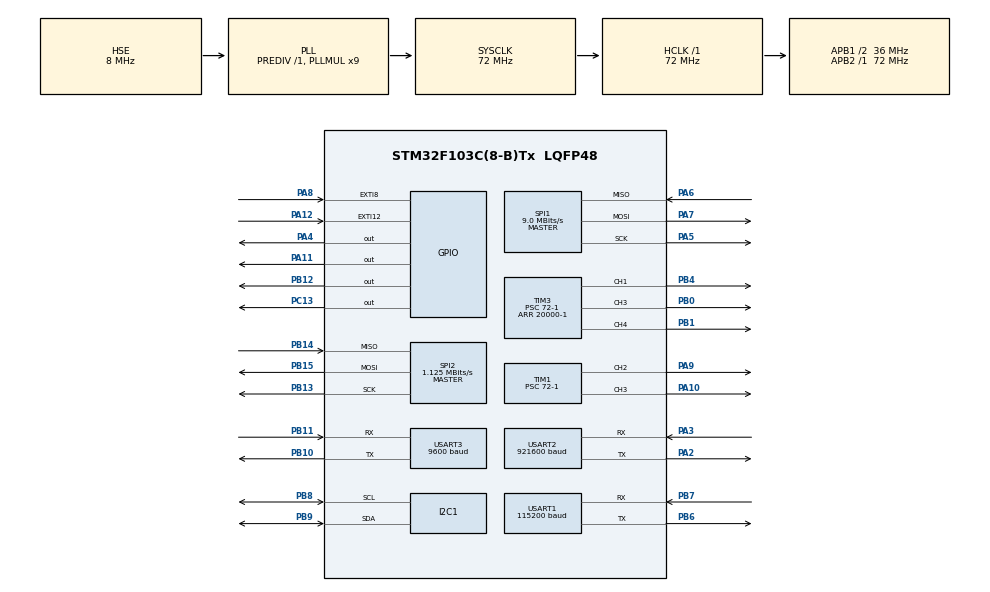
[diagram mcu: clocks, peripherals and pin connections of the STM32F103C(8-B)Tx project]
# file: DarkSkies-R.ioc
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Dma.Request0=USART3_RX
Dma.USART3_RX.0.Direction=DMA_PERIPH_TO_MEMORY
Dma.USART3_RX.0.Instance=DMA1_Channel3
Dma.USART3_RX.0.MemDataAlignment=DMA_MDATAALIGN_BYTE
Dma.USART3_RX.0.MemInc=DMA_MINC_ENABLE
Dma.USART3_RX.0.Mode=DMA_CIRCULAR
Dma.USART3_RX.0.PeriphDataAlignment=DMA_PDATAALIGN_BYTE
Dma.USART3_RX.0.PeriphInc=DMA_PINC_DISABLE
Dma.USART3_RX.0.Priority=DMA_PRIORITY_HIGH
I2C1.I2C_Mode=I2C_Fast
IWDG.Prescaler=IWDG_PRESCALER_32
IWDG.Reload=1100
Mcu.Family=STM32F1
Mcu.Name=STM32F103C(8-B)Tx
Mcu.Package=LQFP48
NVIC.DMA1_Channel3_IRQn=true\:0\:0\:false\:true\:true\:8\:false
NVIC.EXTI15_10_IRQn=true\:0\:0\:false\:true\:true\:2\:true
NVIC.EXTI9_5_IRQn=true\:0\:0\:false\:true\:true\:4\:true
NVIC.I2C1_ER_IRQn=true\:0\:0\:false\:true\:true\:6\:true
NVIC.I2C1_EV_IRQn=true\:0\:0\:false\:true\:true\:5\:true
NVIC.PriorityGroup=NVIC_PRIORITYGROUP_4
NVIC.SPI2_IRQn=true\:0\:0\:false\:true\:true\:3\:true
NVIC.TIM4_IRQn=true\:0\:0\:false\:true\:true\:1\:true
NVIC.USART1_IRQn=true\:0\:0\:false\:true\:true\:10\:true
NVIC.USART2_IRQn=true\:0\:0\:false\:true\:true\:9\:true
PA10.GPIO_ModeDefaultPP=GPIO_MODE_AF_PP
PA10.GPIO_Speed=GPIO_SPEED_FREQ_LOW
PA10.Signal=S_TIM1_CH3
PA11.Signal=GPIO_Output
PA12.GPIO_ModeDefaultEXTI=GPIO_MODE_IT_FALLING
PA12.GPIO_PuPd=GPIO_PULLUP
PA12.Signal=GPXTI12
PA13.Mode=Serial_Wire
PA13.Signal=SYS_JTMS-SWDIO
PA14.Mode=Serial_Wire
PA14.Signal=SYS_JTCK-SWCLK
PA2.Mode=Asynchronous
PA2.Signal=USART2_TX
PA3.Mode=Asynchronous
PA3.Signal=USART2_RX
PA4.Signal=GPIO_Output
PA5.Mode=Full_Duplex_Master
PA5.Signal=SPI1_SCK
PA6.Mode=Full_Duplex_Master
PA6.Signal=SPI1_MISO
PA7.Mode=Full_Duplex_Master
PA7.Signal=SPI1_MOSI
PA8.Signal=GPXTI8
PA9.Signal=S_TIM1_CH2
PB0.GPIO_ModeDefaultPP=GPIO_MODE_AF_PP
PB0.GPIO_Speed=GPIO_SPEED_FREQ_LOW
PB0.Signal=S_TIM3_CH3
PB1.GPIO_ModeDefaultPP=GPIO_MODE_AF_PP
PB1.GPIO_Speed=GPIO_SPEED_FREQ_LOW
PB1.Signal=S_TIM3_CH4
PB10.Mode=Asynchronous
PB10.Signal=USART3_TX
PB11.Mode=Asynchronous
PB11.Signal=USART3_RX
PB12.Signal=GPIO_Output
PB13.Mode=Full_Duplex_Master
PB13.Signal=SPI2_SCK
PB14.Mode=Full_Duplex_Master
PB14.Signal=SPI2_MISO
PB15.Mode=Full_Duplex_Master
PB15.Signal=SPI2_MOSI
PB4.Signal=S_TIM3_CH1
PB6.Mode=Asynchronous
PB6.Signal=USART1_TX
PB7.Mode=Asynchronous
PB7.Signal=USART1_RX
PB8.GPIO_Mode=GPIO_MODE_AF_OD
PB8.GPIO_Speed=GPIO_SPEED_FREQ_HIGH
PB8.Mode=I2C
PB8.Signal=I2C1_SCL
PB9.GPIO_Mode=GPIO_MODE_AF_OD
PB9.GPIO_Speed=GPIO_SPEED_FREQ_HIGH
PB9.Mode=I2C
PB9.Signal=I2C1_SDA
PC13-TAMPER-RTC.Signal=GPIO_Output
PC14-OSC32_IN.Mode=LSE-External-Oscillator
PC14-OSC32_IN.Signal=RCC_OSC32_IN
PC15-OSC32_OUT.Mode=LSE-External-Oscillator
PC15-OSC32_OUT.Signal=RCC_OSC32_OUT
PD0-OSC_IN.Mode=HSE-External-Oscillator
PD0-OSC_IN.Signal=RCC_OSC_IN
PD1-OSC_OUT.Mode=HSE-External-Oscillator
PD1-OSC_OUT.Signal=RCC_OSC_OUT
ProjectManager.HeapSize=0x200
ProjectManager.StackSize=0x400
ProjectManager.TargetToolchain=SW4STM32
RCC.ADCPresc=RCC_ADCPCLK2_DIV6
RCC.AHBFreq_Value=72000000
RCC.APB1CLKDivider=RCC_HCLK_DIV2
RCC.APB1Freq_Value=36000000
RCC.APB1TimFreq_Value=72000000
RCC.APB2Freq_Value=72000000
RCC.APB2TimFreq_Value=72000000
RCC.HCLKFreq_Value=72000000
RCC.PLLMUL=RCC_PLL_MUL9
RCC.PLLSourceVirtual=RCC_PLLSOURCE_HSE
RCC.SYSCLKFreq_VALUE=72000000
RCC.SYSCLKSource=RCC_SYSCLKSOURCE_PLLCLK
RCC.USBFreq_Value=72000000
SH.S_TIM1_CH2.0=TIM1_CH2,PWM Generation2 CH2
SH.S_TIM1_CH3.0=TIM1_CH3,PWM Generation3 CH3
SH.S_TIM3_CH1.0=TIM3_CH1,PWM Generation1 CH1
SH.S_TIM3_CH3.0=TIM3_CH3,PWM Generation3 CH3
SH.S_TIM3_CH4.0=TIM3_CH4,PWM Generation4 CH4
SPI1.BaudRatePrescaler=SPI_BAUDRATEPRESCALER_8
SPI1.CalculateBaudRate=9.0 MBits/s
SPI1.Direction=SPI_DIRECTION_2LINES
SPI1.Mode=SPI_MODE_MASTER
SPI1.VirtualType=VM_MASTER
SPI2.BaudRatePrescaler=SPI_BAUDRATEPRESCALER_32
SPI2.CLKPhase=SPI_PHASE_2EDGE
SPI2.CLKPolarity=SPI_POLARITY_HIGH
SPI2.CalculateBaudRate=1.125 MBits/s
SPI2.Direction=SPI_DIRECTION_2LINES
SPI2.Mode=SPI_MODE_MASTER
SPI2.VirtualType=VM_MASTER
TIM1.Channel-PWM\ Generation2\ CH2=TIM_CHANNEL_2
TIM1.Channel-PWM\ Generation3\ CH3=TIM_CHANNEL_3
TIM1.ClockDivision=TIM_CLOCKDIVISION_DIV1
TIM1.OCIdleState_3=TIM_OCIDLESTATE_RESET
TIM1.Period=20000-1
TIM1.Prescaler=72-1
TIM1.Pulse-PWM\ Generation2\ CH2=1500
TIM1.Pulse-PWM\ Generation3\ CH3=1500
TIM3.Channel-PWM\ Generation1\ CH1=TIM_CHANNEL_1
TIM3.Channel-PWM\ Generation3\ CH3=TIM_CHANNEL_3
TIM3.Channel-PWM\ Generation4\ CH4=TIM_CHANNEL_4
TIM3.Period=20000-1
TIM3.Prescaler=72-1
TIM3.Pulse-PWM\ Generation1\ CH1=625
TIM3.Pulse-PWM\ Generation3\ CH3=1500
TIM3.Pulse-PWM\ Generation4\ CH4=1500
TIM4.Period=1000-1
TIM4.Prescaler=72-1
TIM4.TIM_MasterOutputTrigger=TIM_TRGO_OC1REF
TIM4.TIM_MasterSlaveMode=TIM_MASTERSLAVEMODE_ENABLE
USART1.BaudRate=115200
USART1.VirtualMode=VM_ASYNC
USART2.BaudRate=921600
USART2.VirtualMode=VM_ASYNC
USART3.BaudRate=9600
USART3.Mode=MODE_TX_RX
USART3.StopBits=STOPBITS_2
USART3.VirtualMode=VM_ASYNC
VP_CRC_VS_CRC.Mode=CRC_Activate
VP_IWDG_VS_IWDG.Mode=IWDG_Activate
VP_TIM1_VS_ClockSourceINT.Mode=Internal
VP_TIM3_VS_ClockSourceINT.Mode=Internal
VP_TIM4_VS_ClockSourceINT.Mode=Internal
board=custom

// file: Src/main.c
/**
  ******************************************************************************
  * @file           : main.c
  * @brief          : Main program body
  ******************************************************************************
  ** This notice applies to any and all portions of this file
  * that are not between comment pairs USER CODE BEGIN and
  * USER CODE END. Other portions of this file, whether
  * inserted by the user or by software development tools
  * are owned by their respective copyright owners.
  *
  * COPYRIGHT(c) 2018 STMicroelectronics
  *
  * Redistribution and use in source and binary forms, with or without modification,
  * are permitted provided that the following conditions are met:
  *   1. Redistributions of source code must retain the above copyright notice,
  *      this list of conditions and the following disclaimer.
  *   2. Redistributions in binary form must reproduce the above copyright notice,
  *      this list of conditions and the following disclaimer in the documentation
  *      and/or other materials provided with the distribution.
  *   3. Neither the name of STMicroelectronics nor the names of its contributors
  *      may be used to endorse or promote products derived from this software
  *      without specific prior written permission.
  *
  * THIS SOFTWARE IS PROVIDED BY THE COPYRIGHT HOLDERS AND CONTRIBUTORS "AS IS"
  * AND ANY EXPRESS OR IMPLIED WARRANTIES, INCLUDING, BUT NOT LIMITED TO, THE
  * IMPLIED WARRANTIES OF MERCHANTABILITY AND FITNESS FOR A PARTICULAR PURPOSE ARE
  * DISCLAIMED. IN NO EVENT SHALL THE COPYRIGHT HOLDER OR CONTRIBUTORS BE LIABLE
  * FOR ANY DIRECT, INDIRECT, INCIDENTAL, SPECIAL, EXEMPLARY, OR CONSEQUENTIAL
  * DAMAGES (INCLUDING, BUT NOT LIMITED TO, PROCUREMENT OF SUBSTITUTE GOODS OR
  * SERVICES; LOSS OF USE, DATA, OR PROFITS; OR BUSINESS INTERRUPTION) HOWEVER
  * CAUSED AND ON ANY THEORY OF LIABILITY, WHETHER IN CONTRACT, STRICT LIABILITY,
  * OR TORT (INCLUDING NEGLIGENCE OR OTHERWISE) ARISING IN ANY WAY OUT OF THE USE
  * OF THIS SOFTWARE, EVEN IF ADVISED OF THE POSSIBILITY OF SUCH DAMAGE.
  *
  ******************************************************************************
  */
#include "main.h"
#include "stm32f1xx_hal.h"
#include "crc.h"
#include "dma.h"
#include "i2c.h"
#include "iwdg.h"
#include "spi.h"
#include "tim.h"
#include "usart.h"
#include "gpio.h"

/* USER CODE BEGIN Includes */
#include <Control/control.h>
#include <Sensors/sensors.h>
#include <Radio/radio.h>
#include <OSD/osd.h>
/* USER CODE END Includes */

void SystemClock_Config(void);
static void MX_NVIC_Init(void);

/* USER CODE BEGIN PFP */
/* Private function prototypes -----------------------------------------------*/

/* USER CODE END PFP */

int main(void)
{

  /* MCU Configuration----------------------------------------------------------*/

  /* Reset of all peripherals, Initializes the Flash interface and the Systick. */
  HAL_Init();

  /* Configure the system clock */
  SystemClock_Config();

  /* Initialize all configured peripherals */
  MX_GPIO_Init();
  MX_DMA_Init();
  MX_I2C1_Init();
  MX_USART1_UART_Init();
  MX_TIM1_Init();
  MX_SPI2_Init();
  MX_USART2_UART_Init();
  MX_TIM3_Init();
  MX_USART3_UART_Init();
  MX_TIM4_Init();
  MX_CRC_Init();
  MX_SPI1_Init();
  MX_IWDG_Init();

  /* Initialize interrupts */
  MX_NVIC_Init();
  /* USER CODE BEGIN 2 */
  HAL_UART_Transmit(&huart1, (uint8_t *)"\r\nUART1 test OK!\r\n", 18, 0xFFFF);
  printf("Init started!\r\n");

  HAL_TIM_Base_Start_IT(&htim4); //Microtimer
  //__HAL_SPI_ENABLE(&hspi1);

  //HAL_TIM_OC_Start_IT(&htim4, TIM_CHANNEL_1);

  //HAL_TIM_Base_Start(&htim3); //Do i realy need this????

  //HAL_TIM_PWM_Start(&htim1,TIM_CHANNEL_3);
  //HAL_TIM_PWM_Start(&htim3,TIM_CHANNEL_1);
  //HAL_TIM_PWM_Start(&htim3,TIM_CHANNEL_2);
  //HAL_TIM_PWM_Start(&htim3,TIM_CHANNEL_3);
  //HAL_TIM_PWM_Start(&htim3,TIM_CHANNEL_4);

  OutControl_Init();
  Sensors_Init();
  Radio_Init();

  printf("Init ended!\r\n");
  /* USER CODE END 2 */

  /* Infinite loop */
  /* USER CODE BEGIN WHILE */
  while (1)
  {

	  /*HAL_GPIO_WritePin(GPIOC, GPIO_PIN_13, GPIO_PIN_SET);
	  HAL_Delay(100);
	  HAL_GPIO_WritePin(GPIOC, GPIO_PIN_13, GPIO_PIN_RESET);
	  HAL_Delay(100);*/

	  HAL_GPIO_WritePin(GPIOC, GPIO_PIN_13, GPIO_PIN_RESET);
	  Sensors_Read();
	  //Radio_Read(); //Don't use, working over interrupt now
	  OSD_Send();
	  HAL_GPIO_WritePin(GPIOC, GPIO_PIN_13, GPIO_PIN_SET);
	  HAL_Delay(5);

	  //LOG("p: %.2f, y: %.2f, r: %.2f, tick: %u\r\n", Angles.pitch, Angles.yaw, Angles.roll, HAL_GetTick());

	  //struct ADC_Data v = ADC_Get_Data();
	  //LOG("ADC: %.2fV %.2fV %.2fA %.2fC %.2fV tick: %u ms: %lu us: %lu\r\n", v.vbat, v.vbatm, v.ibat, v.temp, v.vref, HAL_GetTick(), getMillis(), getMicros());

	  #ifdef HAL_IWDG_MODULE_ENABLED
	  HAL_IWDG_Refresh(&hiwdg);
	  #endif
  /* USER CODE END WHILE */

  }

}

void SystemClock_Config(void)
{

  RCC_OscInitTypeDef RCC_OscInitStruct;
  RCC_ClkInitTypeDef RCC_ClkInitStruct;

    /**Initializes the CPU, AHB and APB busses clocks
    */
  RCC_OscInitStruct.OscillatorType = RCC_OSCILLATORTYPE_LSI|RCC_OSCILLATORTYPE_HSE;
  RCC_OscInitStruct.HSEState = RCC_HSE_ON;
  RCC_OscInitStruct.HSEPredivValue = RCC_HSE_PREDIV_DIV1;
  RCC_OscInitStruct.HSIState = RCC_HSI_ON;
  RCC_OscInitStruct.LSIState = RCC_LSI_ON;
  RCC_OscInitStruct.PLL.PLLState = RCC_PLL_ON;
  RCC_OscInitStruct.PLL.PLLSource = RCC_PLLSOURCE_HSE;
  RCC_OscInitStruct.PLL.PLLMUL = RCC_PLL_MUL9;
  if (HAL_RCC_OscConfig(&RCC_OscInitStruct) != HAL_OK)
  {
    _Error_Handler(__FILE__, __LINE__);
  }

    /**Initializes the CPU, AHB and APB busses clocks
    */
  RCC_ClkInitStruct.ClockType = RCC_CLOCKTYPE_HCLK|RCC_CLOCKTYPE_SYSCLK
                              |RCC_CLOCKTYPE_PCLK1|RCC_CLOCKTYPE_PCLK2;
  RCC_ClkInitStruct.SYSCLKSource = RCC_SYSCLKSOURCE_PLLCLK;
  RCC_ClkInitStruct.AHBCLKDivider = RCC_SYSCLK_DIV1;
  RCC_ClkInitStruct.APB1CLKDivider = RCC_HCLK_DIV2;
  RCC_ClkInitStruct.APB2CLKDivider = RCC_HCLK_DIV1;

  if (HAL_RCC_ClockConfig(&RCC_ClkInitStruct, FLASH_LATENCY_2) != HAL_OK)
  {
    _Error_Handler(__FILE__, __LINE__);
  }

    /**Configure the Systick interrupt time
    */
  HAL_SYSTICK_Config(HAL_RCC_GetHCLKFreq()/1000);

    /**Configure the Systick
    */
  HAL_SYSTICK_CLKSourceConfig(SYSTICK_CLKSOURCE_HCLK);

  /* SysTick_IRQn interrupt configuration */
  HAL_NVIC_SetPriority(SysTick_IRQn, 0, 0);
}

/**
  * @brief NVIC Configuration.
  * @retval None
  */
static void MX_NVIC_Init(void)
{
  /* TIM4_IRQn interrupt configuration */
  HAL_NVIC_SetPriority(TIM4_IRQn, 0, 0);
  HAL_NVIC_EnableIRQ(TIM4_IRQn);
  /* EXTI15_10_IRQn interrupt configuration */
  HAL_NVIC_SetPriority(EXTI15_10_IRQn, 0, 0);
  HAL_NVIC_EnableIRQ(EXTI15_10_IRQn);
  /* SPI2_IRQn interrupt configuration */
  HAL_NVIC_SetPriority(SPI2_IRQn, 0, 0);
  HAL_NVIC_EnableIRQ(SPI2_IRQn);
  /* EXTI9_5_IRQn interrupt configuration */
  HAL_NVIC_SetPriority(EXTI9_5_IRQn, 0, 0);
  HAL_NVIC_EnableIRQ(EXTI9_5_IRQn);
  /* I2C1_EV_IRQn interrupt configuration */
  HAL_NVIC_SetPriority(I2C1_EV_IRQn, 0, 0);
  HAL_NVIC_EnableIRQ(I2C1_EV_IRQn);
  /* I2C1_ER_IRQn interrupt configuration */
  HAL_NVIC_SetPriority(I2C1_ER_IRQn, 0, 0);
  HAL_NVIC_EnableIRQ(I2C1_ER_IRQn);
  /* DMA1_Channel3_IRQn interrupt configuration */
  HAL_NVIC_SetPriority(DMA1_Channel3_IRQn, 0, 0);
  HAL_NVIC_EnableIRQ(DMA1_Channel3_IRQn);
  /* USART2_IRQn interrupt configuration */
  HAL_NVIC_SetPriority(USART2_IRQn, 0, 0);
  HAL_NVIC_EnableIRQ(USART2_IRQn);
  /* USART1_IRQn interrupt configuration */
  HAL_NVIC_SetPriority(USART1_IRQn, 0, 0);
  HAL_NVIC_EnableIRQ(USART1_IRQn);
}

/* USER CODE BEGIN 4 */
void HAL_GPIO_EXTI_Callback(uint16_t GPIO_Pin)
{
	if (GPIO_Pin == GPIO_PIN_9) {
		//printf("INTERRUPT PA9\r\n");
	}

	if (GPIO_Pin == GPIO_PIN_12)
	{
		//printf("Radio_Interrupt\r\n");
		Radio_Interrupt();
	}
}

void HAL_UART_TxCpltCallback(UART_HandleTypeDef *huart)
{
    if (huart->Instance == USART1)  // change USART instance
    {
       // Transmit complete handle RS-485 related stuff
    }
}

/**
  * @brief  Retargets the C library printf function to the USART.
  * @param  None
  * @retval None
  */
/*
#ifdef __GNUC__
#define PUTCHAR_PROTOTYPE int __io_putchar(char ch)
#else
#define PUTCHAR_PROTOTYPE int fputc(char ch, FILE *f)
#endif

PUTCHAR_PROTOTYPE
{
HAL_UART_Transmit(&huart1, (uint8_t*)&ch, 1, 0xFFFF);

return ch;
}*/

/*
int _write(int file, char *ptr, int len)
{
	HAL_UART_Transmit(&huart1, (uint8_t*)ptr, len, 0xFFFF);
	while(1);
    return len;
}*/

/*
#define PUTCHAR_PROTOTYPE int __write(int file, char ch, int len)

PUTCHAR_PROTOTYPE
{
HAL_UART_Transmit(&huart1, (uint8_t*)&ch, 1, 0xFFFF);
return len;
}
*/
/* USER CODE END 4 */

void _Error_Handler(char *file, int line)
{
  /* USER CODE BEGIN Error_Handler_Debug */
  /* User can add his own implementation to report the HAL error return state */
	UNUSED(line);
	printf("_Error_Handler file: %s line: %i \r\n", file, line);
	while (1) {

	}
  /* USER CODE END Error_Handler_Debug */
}

/************************ (C) COPYRIGHT STMicroelectronics *****END OF FILE****/
